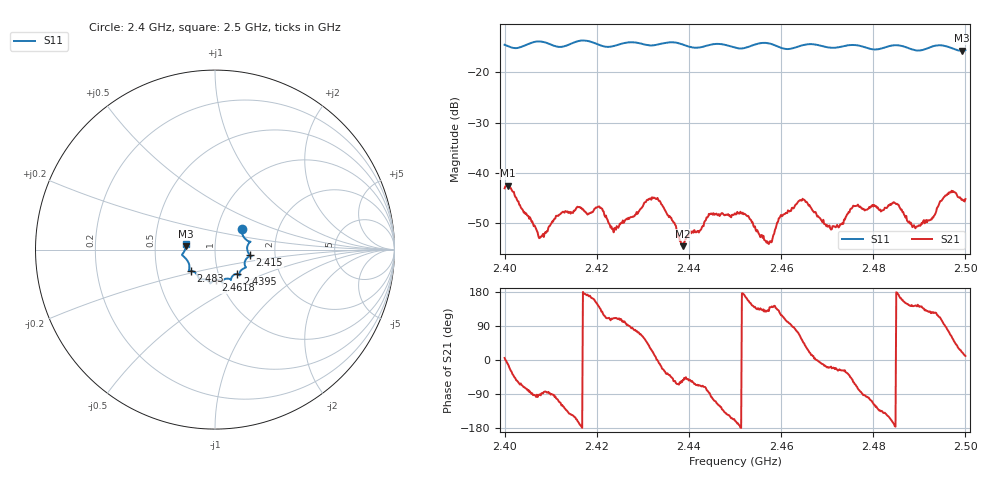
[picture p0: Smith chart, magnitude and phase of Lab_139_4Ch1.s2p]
# Hz S RI R 50
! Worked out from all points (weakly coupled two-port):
!   601 points, 2.4 GHz to 2.5 GHz, reference 50 ohm
!   highest |S21| = -42.60 dB at 2.4007 GHz (marker M1); lowest = -54.6 dB at 2.4387 GHz (marker M2)
!   lowest |S11| = -15.7 dB at 2.4992 GHz (marker M3), VSWR 1.39, Z = 36 + j1.32 ohm
!   |S11| at or under -10 dB: start of sweep to end of sweep
!   S12 and S22 are empty: the file has one direction only
!   S11 on the Smith chart (normalised r, x): 2.4 GHz: 1.31, +0.31; 2.415 GHz: 1.48, -0.10; 2.4395 GHz: 1.23, -0.34; 2.4618 GHz: 0.95, -0.34; 2.483 GHz: 0.74, -0.18; 2.5 GHz: 0.72, +0.05
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2.4e9  0.1497 0.1136  0.00697 0.000656  0 0  0 0
2.400667e9  0.1499 0.1041  0.0073 -0.0013  0 0  0 0
2.407667e9  0.198 0.044  -3.52e-05 -0.00225  0 0  0 0
2.415e9  0.1951 -0.0318  -0.00357 -0.0022  0 0  0 0
2.416667e9  0.2036 -0.0377  -0.00447 -0.000323  0 0  0 0
2.420667e9  0.1809 -0.0443  -0.00326 0.00307  0 0  0 0
2.423833e9  0.165 -0.0801  -0.000988 0.00263  0 0  0 0
2.433333e9  0.1365 -0.1316  0.00538 -0.00035  0 0  0 0
2.438667e9  0.1302 -0.1371  0.00113 -0.00148  0 0  0 0
2.4395e9  0.1239 -0.1352  0.00149 -0.00178  0 0  0 0
2.45e9  0.0696 -0.1617  -0.00371 -0.00133  0 0  0 0
2.457333e9  0.0441 -0.1894  -0.00123 0.00151  0 0  0 0
2.461833e9  0.00414 -0.1711  -0.000443 0.00409  0 0  0 0
2.466667e9  -0.0263 -0.1889  0.00422 0.00103  0 0  0 0
2.471167e9  -0.0514 -0.1676  0.00274 -0.00105  0 0  0 0
2.476167e9  -0.0883 -0.1644  0.00196 -0.00423  0 0  0 0
2.483e9  -0.1355 -0.1182  -0.00371 -0.00249  0 0  0 0
2.483333e9  -0.1382 -0.118  -0.00409 -0.00243  0 0  0 0
2.4895e9  -0.1466 -0.075  -0.00228 0.00181  0 0  0 0
2.4965e9  -0.1768 -0.0191  0.00192 0.0061  0 0  0 0
2.499167e9  -0.1631 0.0178  0.005 0.00198  0 0  0 0
2.5e9  -0.163 0.0328  0.00538 0.00101  0 0  0 0
